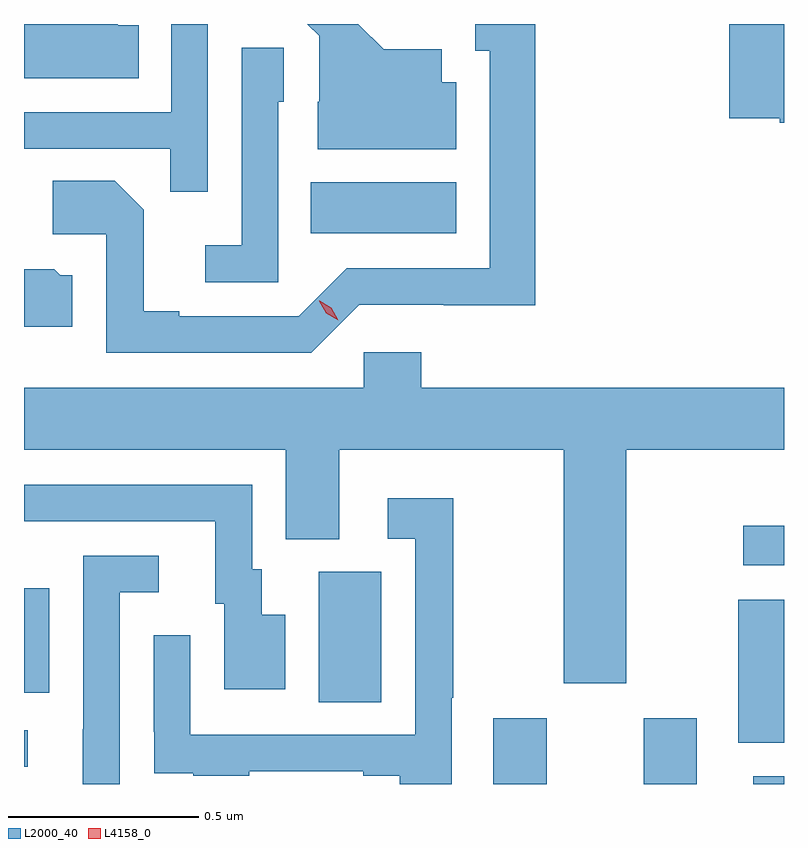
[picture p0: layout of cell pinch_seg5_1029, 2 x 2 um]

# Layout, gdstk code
import gdstk
lib = gdstk.Library(unit=1e-6, precision=1e-09)
def R(c, l, rs):  # rectangles x0, y0, x1, y1
    for r in rs: c.add(gdstk.rectangle(r[:2], r[2:], *l))
def P(c, l, *ps):  # polygons
    for p in ps: c.add(gdstk.Polygon(p, *l))
L2000_40 = (2000, 40)
L4158_0 = (4158, 0)

pinch_seg5_1029 = lib.new_cell('pinch_seg5_1029')
R(pinch_seg5_1029, L2000_40, [(700.397,839.897,700.537,840.07), (700.793,839.897,700.933,840.07), (701.081,839.897,701.162,839.917), (699.162,839.943,699.172,840.039), (701.042,840.006,701.162,840.382), (699.938,840.112,700.102,840.456), (699.162,840.137,699.229,840.412), (701.055,840.473,701.162,840.577), (699.916,841.346,700.3,841.48)])
P(pinch_seg5_1029, L2000_40, [(699.464,841.894),(699.409,841.894),(699.409,841.897),(699.162,841.897),(699.162,841.754),(699.464,841.754)],
  [(701.162,841.897),(701.018,841.897),(701.018,841.649),(701.151,841.649),(701.151,841.637),(701.162,841.637)],
  [(700.044,841.158),(700.266,841.158),(700.266,841.157),(700.507,841.157),(700.507,841.897),(700.349,841.897),(700.349,841.827),(700.388,841.827),(700.388,841.254),(700.011,841.254),(699.885,841.128),(699.571,841.128),(699.571,841.141),(699.477,841.141),(699.477,841.408),(699.401,841.484),(699.237,841.484),(699.237,841.344),(699.378,841.344),(699.378,841.032),(699.918,841.032)],
  [(699.645,841.897),(699.549,841.897),(699.549,841.665),(699.162,841.665),(699.162,841.569),(699.547,841.569),(699.547,841.456),(699.645,841.456)],
  [(700.3,841.744),(700.261,841.744),(700.261,841.831),(700.109,841.831),(700.042,841.897),(699.908,841.897),(699.939,841.866),(699.939,841.692),(699.935,841.692),(699.935,841.568),(700.3,841.568)],
  [(699.831,841.692),(699.846,841.692),(699.846,841.835),(699.735,841.835),(699.735,841.315),(699.639,841.315),(699.639,841.218),(699.831,841.218)],
  [(699.289,841.236),(699.258,841.236),(699.242,841.252),(699.162,841.252),(699.162,841.1),(699.289,841.1)],
  [(700.747,840.776),(701.162,840.776),(701.162,840.94),(700.208,840.94),(700.208,841.033),(700.056,841.033),(700.056,840.94),(699.162,840.94),(699.162,840.776),(699.851,840.776),(699.851,840.541),(699.991,840.541),(699.991,840.776),(700.583,840.776),(700.583,840.162),(700.747,840.162)],
  [(699.85,840.343),(699.787,840.343),(699.787,840.462),(699.762,840.462),(699.762,840.684),(699.162,840.684),(699.162,840.588),(699.665,840.588),(699.665,840.372),(699.689,840.372),(699.689,840.147),(699.85,840.147)],
  [(700.287,840.124),(700.292,840.124),(700.292,840.649),(700.119,840.649),(700.119,840.543),(700.191,840.543),(700.191,840.027),(699.6,840.027),(699.6,840.289),(699.504,840.289),(699.504,840.034),(699.505,840.034),(699.505,839.925),(699.607,839.925),(699.607,839.919),(699.755,839.919),(699.755,839.931),(700.055,839.931),(700.055,839.919),(700.151,839.919),(700.151,839.897),(700.287,839.897)],
  [(699.414,840.402),(699.517,840.402),(699.517,840.498),(699.318,840.498),(699.318,840.041),(699.317,840.041),(699.317,839.897),(699.414,839.897)])
P(pinch_seg5_1029, L4158_0, [(699.989,841.118),(699.957,841.136),(699.939,841.168),(699.939,841.169),(699.94,841.169),(699.971,841.15),(699.989,841.118),(699.989,841.118)])

lib.write_gds('pinch_seg5_1029.gds')
